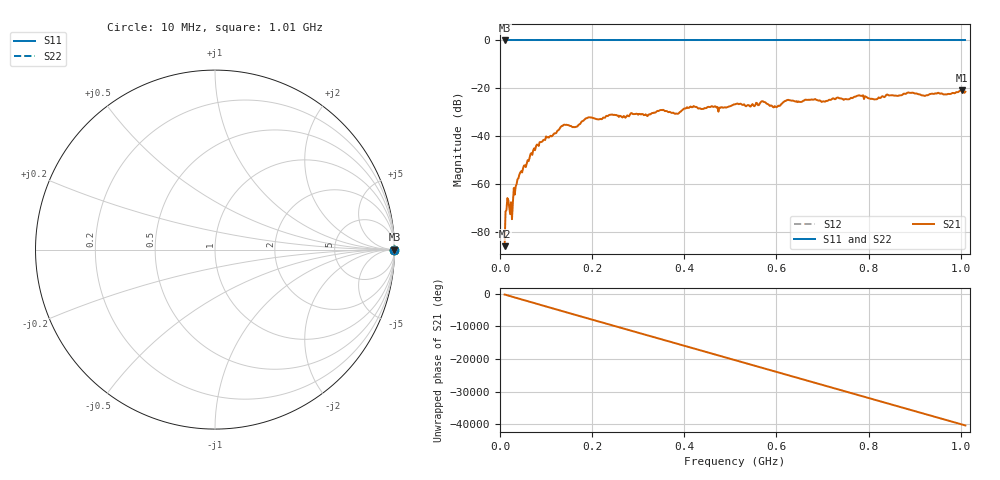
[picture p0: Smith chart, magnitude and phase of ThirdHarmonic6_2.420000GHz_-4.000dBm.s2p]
! 8/17/2025 4:07:06 AM
! C:\ANRITSUVNA\TEMP\TEMP.S2P
! CHANNEL.1
! TR.MEASUREMENT
! RAW.DATA
! RF.CORRECTION.OFF
! AVERAGING.OFF
! IF.BANDWIDTH: 5KHZ
! SWEEPTYPE:  FREQ.SWEEP(Linear)
! Reference Plane Port Info
! PORT:  PORT1  PORT2
! DISTANCE:  0  m  0  m
! TIME:  0  s  0  s
! PHASE.OFFSET:  0  deg.  0  deg.
! LOSS:  0  dB  0  dB
! REF.LOSS:  0  dB  0  dB
! REF.FREQ:  0  Hz  0  Hz
! Power Info
! POWER:  -20  dBm  -20  dBm
! EFF.POWER:  -20  dBm  -20  dBm
! SOURCE.ATTEN:  0  dB  0  dB
! TEST.ATTEN:  0  dB  0  dB
# GHZ S RI R 50.0
! FREQ.GHZ  S11RE  S11IM  S21RE  S21IM  S12RE  S12IM  S22RE  S22IM
!; PortSelection: Port_12
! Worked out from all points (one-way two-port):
!   501 points, 10 MHz to 1.01 GHz, reference 50 ohm
!   highest |S21| = -20.78 dB at 1.002 GHz (marker M1); lowest = -85.7 dB at 10 MHz (marker M2)
!   lowest |S11| = 0.0 dB at 10 MHz (marker M3)
!   |S11| at or under -10 dB: nowhere
!   |S22| runs from 0.0 to 0.0 dB; largest |S21 - S12| = 1.1
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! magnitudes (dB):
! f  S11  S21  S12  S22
! 10 MHz  0.0  -85.7  0.0  0.0
! 16 MHz  0.0  -65.7  0.0  0.0
! 24 MHz  0.0  -67.4  0.0  0.0
! 34 MHz  0.0  -60.8  0.0  0.0
! 42 MHz  0.0  -55.9  0.0  0.0
! 76 MHz  0.0  -45.7  0.0  0.0
! 136 MHz  0.0  -35.6  0.0  0.0
! 164 MHz  0.0  -36.0  0.0  0.0
! 178 MHz  0.0  -33.7  0.0  0.0
! 344 MHz  0.0  -29.4  0.0  0.0
! 384 MHz  0.0  -30.5  0.0  0.0
! 416 MHz  0.0  -27.8  0.0  0.0
! 510 MHz  0.0  -26.6  0.0  0.0
! 570 MHz  0.0  -25.3  0.0  0.0
! 598 MHz  0.0  -27.6  0.0  0.0
! 622 MHz  0.0  -24.9  0.0  0.0
! 678 MHz  0.0  -24.7  0.0  0.0
! 780 MHz  0.0  -22.8  0.0  0.0
! 814 MHz  0.0  -24.5  0.0  0.0
! 844 MHz  0.0  -22.9  0.0  0.0
! 1.002 GHz  0.0  -20.8  0.0  0.0
! 1.01 GHz  0.0  -21.4  0.0  0.0
